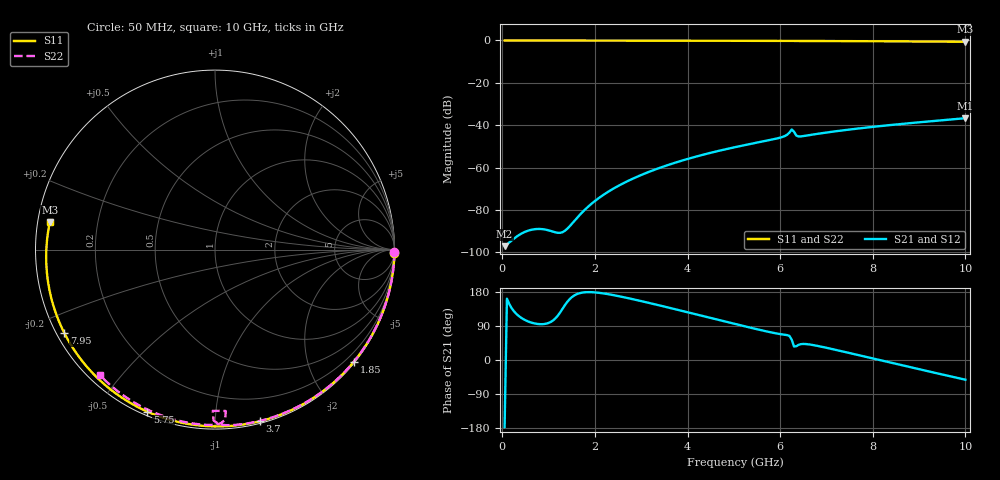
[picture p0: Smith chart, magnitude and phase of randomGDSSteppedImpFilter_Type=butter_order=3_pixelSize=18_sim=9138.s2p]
! freq	dB(S11)	phase(S11)	dB(S12)	phase(S12)
!  dB(S21)	phase(S21)	dB(S22)	phase(S22)
!S-par simulation data
#  GHz  S  DB  R 50
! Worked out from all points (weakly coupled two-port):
!   200 points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, 50 MHz to 10 GHz, reference 50 ohm
!   highest |S21| = -36.68 dB at 10 GHz (marker M1); lowest = -97.1 dB at 50 MHz (marker M2)
!   lowest |S11| = -0.6 dB at 10 GHz (marker M3), VSWR 28.80, Z = 1.75 + j4.13 ohm
!   |S11| at or under -10 dB: nowhere
!   |S22| runs from -0.9 to 0.0 dB; largest |S21 - S12| = 0
!   S11 on the Smith chart (normalised r, x): 50 MHz: open; 1.85 GHz: 0.03, -2.83; 3.7 GHz: 0.02, -1.30; 5.75 GHz: 0.02, -0.67; 7.95 GHz: 0.02, -0.26; 10 GHz: 0.03, +0.08
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0.05  -0.00 -1.1  -97.07 -177.0  -97.07 -177.0  -0.00 -0.8
0.85  -0.02 -18.1  -89.00 94.5  -89.00 94.5  -0.01 -13.0
1.75  -0.05 -36.8  -80.56 178.3  -80.56 178.3  -0.03 -26.4
1.85  -0.05 -38.9  -78.50 179.1  -78.50 179.1  -0.04 -27.9
2.15  -0.06 -45.0  -73.35 176.3  -73.35 176.3  -0.04 -32.3
2.5  -0.07 -52.0  -68.68 168.8  -68.68 168.8  -0.05 -37.4
3.4  -0.09 -69.6  -60.11 143.9  -60.11 143.9  -0.07 -50.3
3.7  -0.10 -75.3  -57.91 135.0  -57.91 135.0  -0.07 -54.6
4.35  -0.12 -87.5  -53.83 115.5  -53.83 115.5  -0.09 -63.5
5.05  -0.15 -100.2  -50.24 94.4  -50.24 94.4  -0.11 -73.0
5.75  -0.19 -112.6  -47.12 74.3  -47.12 74.3  -0.14 -82.4
6.1  -0.21 -118.7  -45.11 66.5  -45.11 66.5  -0.21 -87.9
6.2  -0.22 -120.5  -43.47 63.6  -43.47 63.6  -0.43 -90.5
6.25  -0.22 -121.4  -42.02 53.6  -42.02 53.6  -0.93 -90.8
6.3  -0.22 -122.2  -43.09 35.6  -43.09 35.6  -0.90 -86.2
6.35  -0.23 -123.1  -44.90 36.5  -44.90 36.5  -0.44 -86.6
6.4  -0.23 -124.0  -45.30 40.1  -45.30 40.1  -0.30 -87.9
6.7  -0.25 -129.2  -44.42 39.7  -44.42 39.7  -0.20 -93.0
7.95  -0.36 -151.0  -40.89 5.4  -40.89 5.4  -0.26 -108.6
8.35  -0.40 -158.2  -39.98 -6.0  -39.98 -6.0  -0.29 -113.3
9.2  -0.50 -173.8  -38.23 -29.9  -38.23 -29.9  -0.37 -123.2
10  -0.60 170.5  -36.68 -52.0  -36.68 -52.0  -0.45 -132.4
